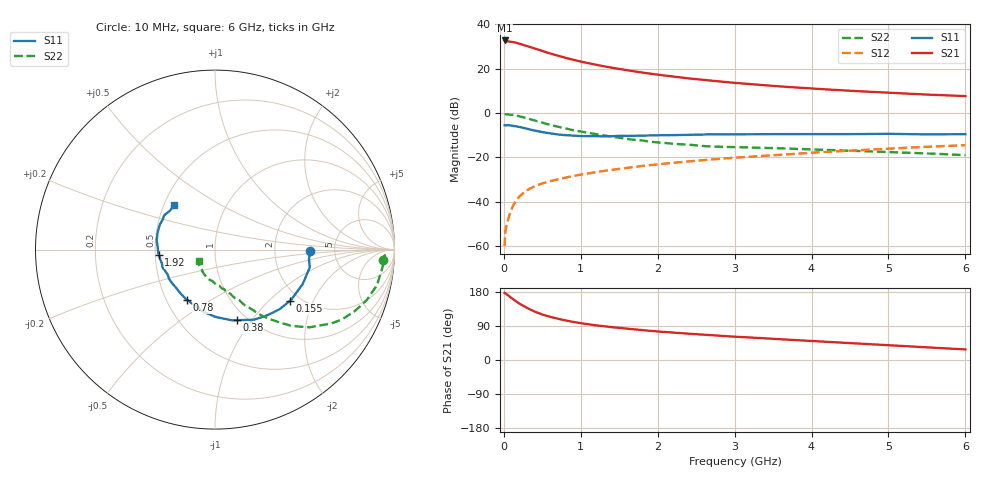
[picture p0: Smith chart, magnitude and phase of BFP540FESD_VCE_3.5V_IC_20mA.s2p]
! Infineon Technologies  Discrete & RF Semiconductors
! BFP540FESD
! VCE =  3.5 V,  IC =  20 mA
! Common Emitter S-Parameters:  Nov 2015
# GHz  S  MA  R  50
!  f  S11  S21  S12  S22
! GHz  MAG  ANG  MAG  ANG  MAG  ANG  MAG  ANG
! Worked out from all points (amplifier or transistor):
!   210 points, 10 MHz to 6 GHz, reference 50 ohm
!   highest |S21| = 32.8 dB at 10 MHz (marker M1)
!   |S21| within 3 dB of that: start of sweep to 346.2 MHz
!   unconditionally stable (mu >= 1): start of sweep to 12.76 MHz; 1.795 GHz to end of sweep
!   at 185 MHz: K = 0.31, MSG = 34.9 dB, |S12| = -38.3 dB
!   at 1.52 GHz: K = 0.96, MSG = 22.4 dB, |S12| = -25.1 dB
!   at 6 GHz: K = 1.17, MAG = 8.5 dB, |S12| = -14.4 dB
!   S11 on the Smith chart (normalised r, x): 10 MHz: 3.27, -0.07; 155 MHz: 1.77, -1.36; 380 MHz: 0.89, -0.85; 780 MHz: 0.64, -0.40; 1.92 GHz: 0.52, -0.03; 6 GHz: 0.57, +0.31
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0.01  0.5315 -0.8  43.52 177.1  0.001 52.0  0.9365 -3.4
0.02  0.5261 -5.6  41.76 176.0  0.0022 71.4  0.9466 -1.9
0.05  0.5373 -10.7  41.75 171.4  0.0036 79.7  0.9386 -6.0
0.1  0.5249 -21.5  40.5 163.5  0.0068 77.6  0.9239 -12.4
0.155  0.5059 -34.4  38.92 155.4  0.0104 76.5  0.8874 -18.8
0.2  0.4902 -42.4  37.01 149.0  0.0131 73.7  0.8513 -23.7
0.26  0.4629 -53.3  34.46 141.9  0.0161 68.4  0.8014 -29.3
0.3  0.447 -60.8  32.81 137.2  0.0181 67.5  0.7656 -32.6
0.38  0.4116 -73.0  29.45 129.8  0.0216 66.2  0.6979 -37.9
0.5  0.3749 -89.7  25.22 120.0  0.026 63.8  0.6054 -44.7
0.6  0.3512 -101.0  22.14 113.8  0.0291 63.5  0.5434 -48.4
0.78  0.3203 -118.8  18.1 105.3  0.0345 61.9  0.4584 -54.1
0.9  0.3106 -128.3  15.98 100.5  0.0382 62.2  0.4135 -56.9
1.02  0.3035 -136.2  14.3 96.6  0.0416 61.6  0.3786 -59.3
1.4  0.3014 -156.8  10.6 86.7  0.0525 61.7  0.2944 -67.4
1.92  0.3148 -174.5  7.692 76.7  0.0677 59.9  0.225 -77.5
2.02  0.3176 -178.1  7.294 74.9  0.0705 59.2  0.2178 -80.3
2.6  0.3305 170.5  5.589 66.7  0.0873 57.0  0.1802 -93.1
3.1  0.3334 163.0  4.663 60.5  0.1016 54.6  0.1698 -100.7
4.1  0.3371 153.8  3.504 49.1  0.1311 49.4  0.15 -113.7
5.1  0.3392 144.6  2.831 37.9  0.1616 42.0  0.1305 -126.3
6  0.3355 132.9  2.42 27.9  0.1895 34.9  0.1126 -144.3
